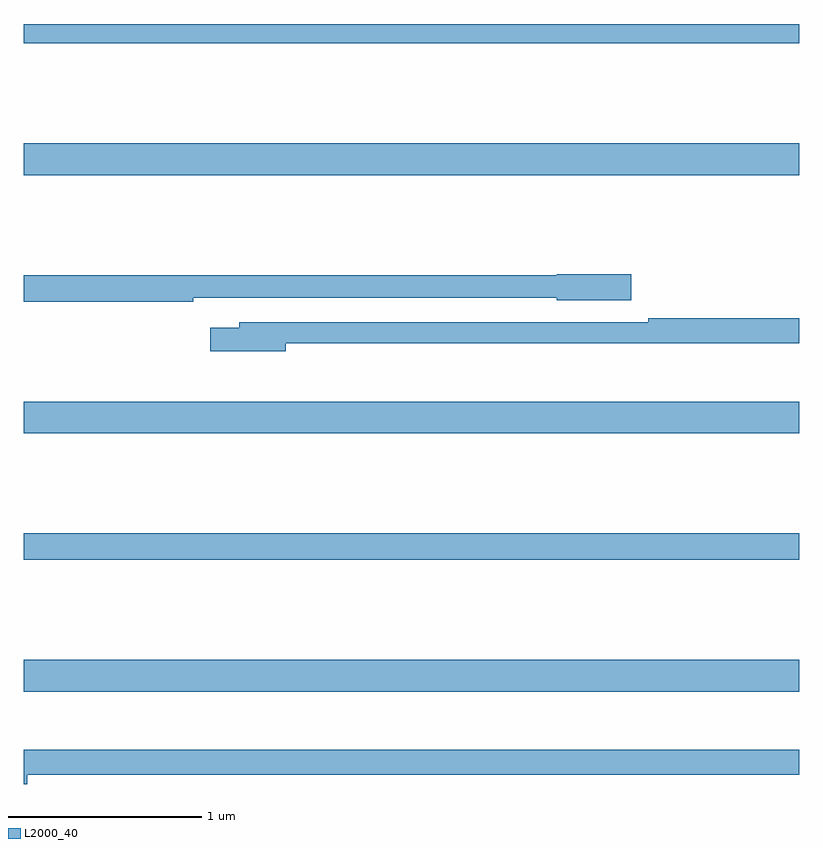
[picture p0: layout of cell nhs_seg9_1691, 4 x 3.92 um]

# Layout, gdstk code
import gdstk
lib = gdstk.Library(unit=1e-6, precision=1e-09)
def R(c, l, rs):  # rectangles x0, y0, x1, y1
    for r in rs: c.add(gdstk.rectangle(r[:2], r[2:], *l))
def A(c, l, x, y, w, h, nx, ny, dx, dy):  # array of equal rectangles
    R(c, l, [(x+i*dx, y+j*dy, x+i*dx+w, y+j*dy+h) for i in range(nx) for j in range(ny)])
def P(c, l, *ps):  # polygons
    for p in ps: c.add(gdstk.Polygon(p, *l))
L2000_40 = (2000, 40)

nhs_seg9_1691 = lib.new_cell('nhs_seg9_1691')
A(nhs_seg9_1691, L2000_40, 205, 1227.056, 4, 0.164, 1, 3, 0, 1.332)
R(nhs_seg9_1691, L2000_40, [(205,1227.736,209,1227.872), (205,1230.4,209,1230.5)])
P(nhs_seg9_1691, L2000_40, [(205.874,1229.088),(207.75,1229.088),(207.75,1229.075),(208.135,1229.075),(208.135,1229.21),(207.75,1229.21),(207.75,1229.204),(205,1229.204),(205,1229.068),(205.874,1229.068)],
  [(206.35,1228.854),(209,1228.854),(209,1228.982),(208.222,1228.982),(208.222,1228.962),(206.111,1228.962),(206.111,1228.933),(205.962,1228.933),(205.962,1228.811),(206.35,1228.811)],
  [(205.018,1226.626),(209,1226.626),(209,1226.755),(205,1226.755),(205,1226.579),(205.018,1226.579)])

lib.write_gds('nhs_seg9_1691.gds')
